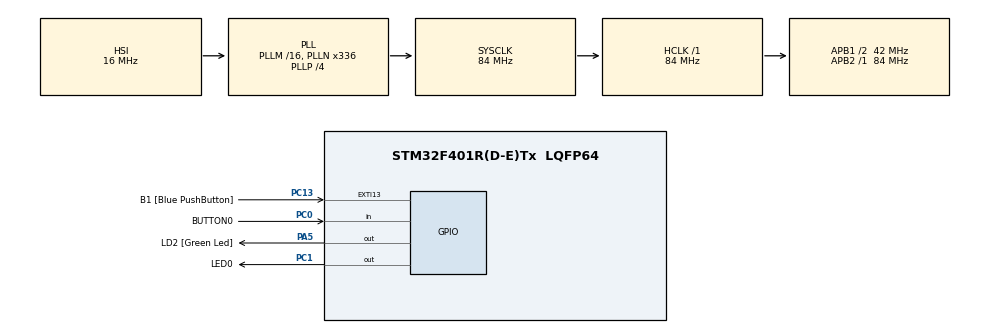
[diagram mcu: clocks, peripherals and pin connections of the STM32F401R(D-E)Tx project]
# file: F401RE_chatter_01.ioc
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Mcu.Family=STM32F4
Mcu.Name=STM32F401R(D-E)Tx
Mcu.Package=LQFP64
NVIC.PriorityGroup=NVIC_PRIORITYGROUP_0
PA13.GPIO_Label=TMS
PA13.Signal=SYS_JTMS-SWDIO
PA14.GPIO_Label=TCK
PA14.Signal=SYS_JTCK-SWCLK
PA2.GPIO_Label=USART_TX
PA2.GPIO_Mode=GPIO_MODE_AF_PP
PA2.GPIO_PuPd=GPIO_NOPULL
PA2.GPIO_Speed=GPIO_SPEED_FREQ_LOW
PA2.Signal=USART2_TX
PA3.GPIO_Label=USART_RX
PA3.GPIO_Mode=GPIO_MODE_AF_PP
PA3.GPIO_PuPd=GPIO_NOPULL
PA3.GPIO_Speed=GPIO_SPEED_FREQ_LOW
PA3.Signal=USART2_RX
PA5.GPIO_Label=LD2 [Green Led]
PA5.GPIO_Mode=GPIO_MODE_OUTPUT_PP
PA5.GPIO_PuPd=GPIO_NOPULL
PA5.GPIO_Speed=GPIO_SPEED_FREQ_LOW
PA5.Signal=GPIO_Output
PB3.GPIO_Label=SWO
PB3.Signal=SYS_JTDO-SWO
PC0.GPIO_Label=BUTTON0
PC0.Signal=GPIO_Input
PC1.GPIO_Label=LED0
PC1.Signal=GPIO_Output
PC13-ANTI_TAMP.GPIO_Label=B1 [Blue PushButton]
PC13-ANTI_TAMP.GPIO_ModeDefaultEXTI=GPIO_MODE_EVT_RISING
PC13-ANTI_TAMP.GPIO_PuPd=GPIO_NOPULL
PC13-ANTI_TAMP.Signal=GPXTI13
PC14-OSC32_IN.Signal=RCC_OSC32_IN
PC15-OSC32_OUT.Signal=RCC_OSC32_OUT
PH0\ -\ OSC_IN.Signal=RCC_OSC_IN
PH1\ -\ OSC_OUT.Signal=RCC_OSC_OUT
ProjectManager.HeapSize=0x200
ProjectManager.StackSize=0x400
ProjectManager.TargetToolchain=MDK-ARM V5
RCC.AHBFreq_Value=84000000
RCC.APB1CLKDivider=RCC_HCLK_DIV2
RCC.APB1Freq_Value=42000000
RCC.APB1TimFreq_Value=84000000
RCC.APB2Freq_Value=84000000
RCC.APB2TimFreq_Value=84000000
RCC.CortexFreq_Value=84000000
RCC.HCLKFreq_Value=84000000
RCC.HSE_VALUE=8000000
RCC.HSI_VALUE=16000000
RCC.LSE_VALUE=32768
RCC.PLLN=336
RCC.PLLP=RCC_PLLP_DIV4
RCC.PLLQ=7
RCC.SYSCLKFreq_VALUE=84000000
RCC.SYSCLKSource=RCC_SYSCLKSOURCE_PLLCLK
RCC.VCOOutputFreq_Value=336000000
board=NUCLEO-F401RE

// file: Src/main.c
/**
  ******************************************************************************
  * File Name          : main.c
  * Description        : Main program body
  ******************************************************************************
  *
  * COPYRIGHT(c) 2016 STMicroelectronics
  *
  * Redistribution and use in source and binary forms, with or without modification,
  * are permitted provided that the following conditions are met:
  *   1. Redistributions of source code must retain the above copyright notice,
  *      this list of conditions and the following disclaimer.
  *   2. Redistributions in binary form must reproduce the above copyright notice,
  *      this list of conditions and the following disclaimer in the documentation
  *      and/or other materials provided with the distribution.
  *   3. Neither the name of STMicroelectronics nor the names of its contributors
  *      may be used to endorse or promote products derived from this software
  *      without specific prior written permission.
  *
  * THIS SOFTWARE IS PROVIDED BY THE COPYRIGHT HOLDERS AND CONTRIBUTORS "AS IS"
  * AND ANY EXPRESS OR IMPLIED WARRANTIES, INCLUDING, BUT NOT LIMITED TO, THE
  * IMPLIED WARRANTIES OF MERCHANTABILITY AND FITNESS FOR A PARTICULAR PURPOSE ARE
  * DISCLAIMED. IN NO EVENT SHALL THE COPYRIGHT HOLDER OR CONTRIBUTORS BE LIABLE
  * FOR ANY DIRECT, INDIRECT, INCIDENTAL, SPECIAL, EXEMPLARY, OR CONSEQUENTIAL
  * DAMAGES (INCLUDING, BUT NOT LIMITED TO, PROCUREMENT OF SUBSTITUTE GOODS OR
  * SERVICES; LOSS OF USE, DATA, OR PROFITS; OR BUSINESS INTERRUPTION) HOWEVER
  * CAUSED AND ON ANY THEORY OF LIABILITY, WHETHER IN CONTRACT, STRICT LIABILITY,
  * OR TORT (INCLUDING NEGLIGENCE OR OTHERWISE) ARISING IN ANY WAY OUT OF THE USE
  * OF THIS SOFTWARE, EVEN IF ADVISED OF THE POSSIBILITY OF SUCH DAMAGE.
  *
  ******************************************************************************
  */
#include "stm32f4xx_hal.h"

/* USER CODE BEGIN PV */
/* Private variables ---------------------------------------------------------*/
#define	SAMPLE_COUNT	30	// 30ms

#define	LED_PORT		GPIOC
#define	LED_PIN			GPIO_PIN_1
#define	LED_ON			GPIO_PIN_SET
#define	LED_OFF		GPIO_PIN_RESET
#define	SW_PORT		GPIOC
#define	SW_PIN			GPIO_PIN_0
#define	SW_OFF			GPIO_PIN_SET
#define	SW_ON			GPIO_PIN_RESET
/* USER CODE END PV */

void SystemClock_Config(void);
void Error_Handler(void);
static void MX_GPIO_Init(void);

/* USER CODE BEGIN PFP */
/* Private function prototypes -----------------------------------------------*/

/* USER CODE END PFP */

/* USER CODE BEGIN 0 */
int SampleCount = 0;
volatile int SwStatus = 0;

void HAL_SYSTICK_Callback(void)
{
	SampleCount++;
	if(SampleCount>=SAMPLE_COUNT){
		SampleCount = 0;
		if(HAL_GPIO_ReadPin(SW_PORT, SW_PIN) == SW_ON){
			// スイッチが押されている
			SwStatus = 1;
		}else{
			SwStatus = 0;
		}
	}
}

void GetSwitch(void)
{
	while(!SwStatus) ;	// スイッチが押されるのを待つ
	while(SwStatus) ;	// スイッチが離されるのを待つ
}
/* USER CODE END 0 */

int main(void)
{

  /* MCU Configuration----------------------------------------------------------*/

  /* Reset of all peripherals, Initializes the Flash interface and the Systick. */
  HAL_Init();

  /* Configure the system clock */
  SystemClock_Config();

  /* Initialize all configured peripherals */
  MX_GPIO_Init();

  /* Infinite loop */
  /* USER CODE BEGIN WHILE */
  while (1)
  {
	  GetSwitch();
	  HAL_GPIO_WritePin(LED_PORT, LED_PIN, LED_ON);
	  GetSwitch();
	  HAL_GPIO_WritePin(LED_PORT, LED_PIN, LED_OFF);
  /* USER CODE END WHILE */

  }

}

/** System Clock Configuration
*/
void SystemClock_Config(void)
{

  RCC_OscInitTypeDef RCC_OscInitStruct;
  RCC_ClkInitTypeDef RCC_ClkInitStruct;

  __HAL_RCC_PWR_CLK_ENABLE();

  __HAL_PWR_VOLTAGESCALING_CONFIG(PWR_REGULATOR_VOLTAGE_SCALE2);

  RCC_OscInitStruct.OscillatorType = RCC_OSCILLATORTYPE_HSI;
  RCC_OscInitStruct.HSIState = RCC_HSI_ON;
  RCC_OscInitStruct.HSICalibrationValue = 16;
  RCC_OscInitStruct.PLL.PLLState = RCC_PLL_ON;
  RCC_OscInitStruct.PLL.PLLSource = RCC_PLLSOURCE_HSI;
  RCC_OscInitStruct.PLL.PLLM = 16;
  RCC_OscInitStruct.PLL.PLLN = 336;
  RCC_OscInitStruct.PLL.PLLP = RCC_PLLP_DIV4;
  RCC_OscInitStruct.PLL.PLLQ = 7;
  if (HAL_RCC_OscConfig(&RCC_OscInitStruct) != HAL_OK)
  {
    Error_Handler();
  }

  RCC_ClkInitStruct.ClockType = RCC_CLOCKTYPE_HCLK|RCC_CLOCKTYPE_SYSCLK
                              |RCC_CLOCKTYPE_PCLK1|RCC_CLOCKTYPE_PCLK2;
  RCC_ClkInitStruct.SYSCLKSource = RCC_SYSCLKSOURCE_PLLCLK;
  RCC_ClkInitStruct.AHBCLKDivider = RCC_SYSCLK_DIV1;
  RCC_ClkInitStruct.APB1CLKDivider = RCC_HCLK_DIV2;
  RCC_ClkInitStruct.APB2CLKDivider = RCC_HCLK_DIV1;
  if (HAL_RCC_ClockConfig(&RCC_ClkInitStruct, FLASH_LATENCY_2) != HAL_OK)
  {
    Error_Handler();
  }

  HAL_SYSTICK_Config(HAL_RCC_GetHCLKFreq()/1000);

  HAL_SYSTICK_CLKSourceConfig(SYSTICK_CLKSOURCE_HCLK);

  /* SysTick_IRQn interrupt configuration */
  HAL_NVIC_SetPriority(SysTick_IRQn, 0, 0);
}

/** Configure pins as
        * Analog
        * Input
        * Output
        * EVENT_OUT
        * EXTI
     PA2   ------> USART2_TX
     PA3   ------> USART2_RX
*/
static void MX_GPIO_Init(void)
{

  GPIO_InitTypeDef GPIO_InitStruct;

  /* GPIO Ports Clock Enable */
  __HAL_RCC_GPIOC_CLK_ENABLE();
  __HAL_RCC_GPIOH_CLK_ENABLE();
  __HAL_RCC_GPIOA_CLK_ENABLE();
  __HAL_RCC_GPIOB_CLK_ENABLE();

  /*Configure GPIO pin : B1_Pin */
  GPIO_InitStruct.Pin = B1_Pin;
  GPIO_InitStruct.Mode = GPIO_MODE_EVT_RISING;
  GPIO_InitStruct.Pull = GPIO_NOPULL;
  HAL_GPIO_Init(B1_GPIO_Port, &GPIO_InitStruct);

  /*Configure GPIO pin : BUTTON0_Pin */
  GPIO_InitStruct.Pin = BUTTON0_Pin;
  GPIO_InitStruct.Mode = GPIO_MODE_INPUT;
  GPIO_InitStruct.Pull = GPIO_NOPULL;
  HAL_GPIO_Init(BUTTON0_GPIO_Port, &GPIO_InitStruct);

  /*Configure GPIO pin : LED0_Pin */
  GPIO_InitStruct.Pin = LED0_Pin;
  GPIO_InitStruct.Mode = GPIO_MODE_OUTPUT_PP;
  GPIO_InitStruct.Pull = GPIO_NOPULL;
  GPIO_InitStruct.Speed = GPIO_SPEED_FREQ_LOW;
  HAL_GPIO_Init(LED0_GPIO_Port, &GPIO_InitStruct);

  /*Configure GPIO pins : USART_TX_Pin USART_RX_Pin */
  GPIO_InitStruct.Pin = USART_TX_Pin|USART_RX_Pin;
  GPIO_InitStruct.Mode = GPIO_MODE_AF_PP;
  GPIO_InitStruct.Pull = GPIO_NOPULL;
  GPIO_InitStruct.Speed = GPIO_SPEED_FREQ_LOW;
  GPIO_InitStruct.Alternate = GPIO_AF7_USART2;
  HAL_GPIO_Init(GPIOA, &GPIO_InitStruct);

  /*Configure GPIO pin : LD2_Pin */
  GPIO_InitStruct.Pin = LD2_Pin;
  GPIO_InitStruct.Mode = GPIO_MODE_OUTPUT_PP;
  GPIO_InitStruct.Pull = GPIO_NOPULL;
  GPIO_InitStruct.Speed = GPIO_SPEED_FREQ_LOW;
  HAL_GPIO_Init(LD2_GPIO_Port, &GPIO_InitStruct);

  /*Configure GPIO pin Output Level */
  HAL_GPIO_WritePin(LED0_GPIO_Port, LED0_Pin, GPIO_PIN_RESET);

  /*Configure GPIO pin Output Level */
  HAL_GPIO_WritePin(LD2_GPIO_Port, LD2_Pin, GPIO_PIN_RESET);

}

void Error_Handler(void)
{
  while(1)
  {
  }
}

/************************ (C) COPYRIGHT STMicroelectronics *****END OF FILE****/
